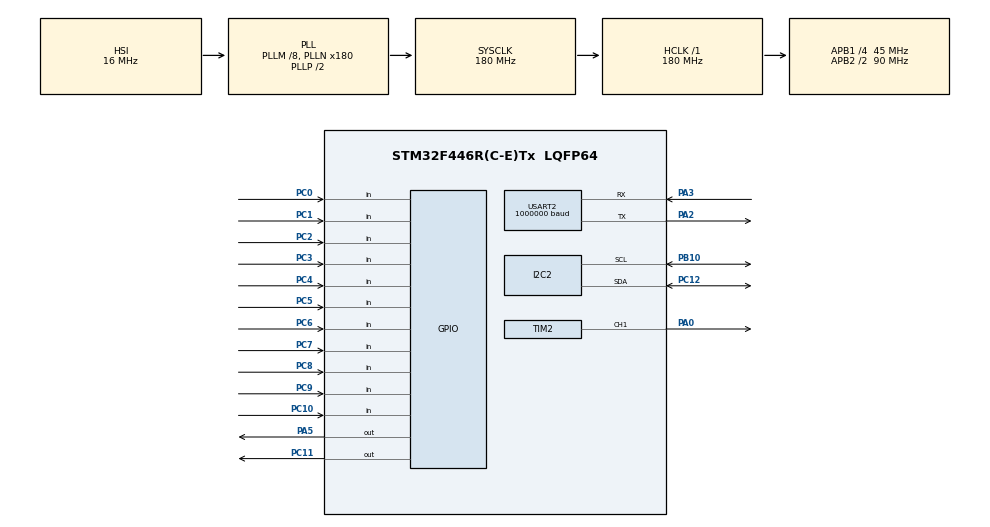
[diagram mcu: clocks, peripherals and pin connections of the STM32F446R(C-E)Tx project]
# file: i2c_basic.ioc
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Dma.Request0=USART2_TX
Dma.USART2_TX.0.Direction=DMA_MEMORY_TO_PERIPH
Dma.USART2_TX.0.FIFOMode=DMA_FIFOMODE_DISABLE
Dma.USART2_TX.0.Instance=DMA1_Stream6
Dma.USART2_TX.0.MemDataAlignment=DMA_MDATAALIGN_BYTE
Dma.USART2_TX.0.MemInc=DMA_MINC_ENABLE
Dma.USART2_TX.0.Mode=DMA_NORMAL
Dma.USART2_TX.0.PeriphDataAlignment=DMA_PDATAALIGN_BYTE
Dma.USART2_TX.0.PeriphInc=DMA_PINC_DISABLE
Dma.USART2_TX.0.Priority=DMA_PRIORITY_LOW
Mcu.Family=STM32F4
Mcu.Name=STM32F446R(C-E)Tx
Mcu.Package=LQFP64
NVIC.DMA1_Stream6_IRQn=true\:0\:0\:false\:false\:true\:false\:true
NVIC.PriorityGroup=NVIC_PRIORITYGROUP_4
NVIC.TIM6_DAC_IRQn=true\:0\:0\:false\:false\:true\:true\:true
PA0-WKUP.Signal=S_TIM2_CH1_ETR
PA2.Mode=Asynchronous
PA2.Signal=USART2_TX
PA3.Mode=Asynchronous
PA3.Signal=USART2_RX
PA5.Signal=GPIO_Output
PB10.Mode=I2C
PB10.Signal=I2C2_SCL
PC0.Signal=GPIO_Input
PC1.Signal=GPIO_Input
PC10.Signal=GPIO_Input
PC11.Signal=GPIO_Output
PC12.Mode=I2C
PC12.Signal=I2C2_SDA
PC2.Signal=GPIO_Input
PC3.Signal=GPIO_Input
PC4.Signal=GPIO_Input
PC5.Signal=GPIO_Input
PC6.Signal=GPIO_Input
PC7.Signal=GPIO_Input
PC8.Signal=GPIO_Input
PC9.Signal=GPIO_Input
ProjectManager.HeapSize=0x200
ProjectManager.StackSize=0x400
ProjectManager.TargetToolchain=SW4STM32
RCC.AHBFreq_Value=180000000
RCC.APB1CLKDivider=RCC_HCLK_DIV4
RCC.APB1Freq_Value=45000000
RCC.APB1TimFreq_Value=90000000
RCC.APB2CLKDivider=RCC_HCLK_DIV2
RCC.APB2Freq_Value=90000000
RCC.APB2TimFreq_Value=180000000
RCC.CortexFreq_Value=180000000
RCC.HCLKFreq_Value=180000000
RCC.PLLM=8
RCC.PLLN=180
RCC.SYSCLKFreq_VALUE=180000000
RCC.SYSCLKSource=RCC_SYSCLKSOURCE_PLLCLK
RCC.USBFreq_Value=180000000
RCC.VCOOutputFreq_Value=360000000
SH.S_TIM2_CH1_ETR.0=TIM2_CH1,PWM Generation1 CH1
TIM2.Channel-PWM\ Generation1\ CH1=TIM_CHANNEL_1
TIM2.OCFastMode_PWM-PWM\ Generation1\ CH1=TIM_OCFAST_ENABLE
TIM2.OCMode_PWM-PWM\ Generation1\ CH1=TIM_OCMODE_PWM2
TIM2.Period=1
TIM2.Prescaler=9
TIM2.Pulse-PWM\ Generation1\ CH1=1
TIM6.Period=10000
TIM6.Prescaler=9000
USART2.BaudRate=1000000
USART2.VirtualMode=VM_ASYNC
VP_TIM2_VS_ClockSourceINT.Mode=Internal
VP_TIM6_VS_ClockSourceINT.Mode=Enable_Timer
board=custom

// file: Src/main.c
/* USER CODE BEGIN Header */
/**
  ******************************************************************************
  * @file           : main.c
  * @brief          : Main program body
  ******************************************************************************
  * @attention
  *
  * <h2><center>&copy; Copyright (c) 2019 STMicroelectronics.
  * All rights reserved.</center></h2>
  *
  * This software component is licensed by ST under BSD 3-Clause license,
  * the "License"; You may not use this file except in compliance with the
  * License. You may obtain a copy of the License at:
  *                        opensource.org/licenses/BSD-3-Clause
  *
  ******************************************************************************
  */
/* USER CODE END Header */

#include "main.h"

/* USER CODE BEGIN Includes */
#include "ssd1306_tests.h"
#include <string.h>
#include "dwt_delay.h"
#include "regs.h"

#define SSD1306_USE_I2C 1
#define PUTCHAR_PROTOTYPE int __io_putchar(int ch)
/* USER CODE END Includes */

I2C_HandleTypeDef hi2c2;

TIM_HandleTypeDef htim2;
TIM_HandleTypeDef htim6;

UART_HandleTypeDef huart2;
DMA_HandleTypeDef hdma_usart2_tx;

/* USER CODE BEGIN PV */
#define ROWS 240
#define PIXS 320

volatile uint16_t vsCnt, pxCnt;
volatile uint16_t line;

uint8_t tab[ROWS][PIXS];

/* USER CODE END PV */

void SystemClock_Config(void);
static void MX_GPIO_Init(void);
static void MX_DMA_Init(void);
static void MX_I2C2_Init(void);
static void MX_USART2_UART_Init(void);
static void MX_TIM2_Init(void);
static void MX_TIM6_Init(void);

/* USER CODE BEGIN 0 */

uint8_t data;

void init() {
	for(int i = 0; i < 198 ; i ++){
		HAL_I2C_Mem_Write(&hi2c2, (0x21<<1), OV7670_reg[i][0], 1, &OV7670_reg[i][1], 1, 100);
		HAL_Delay(1);
		HAL_I2C_Mem_Read(&hi2c2, (0x21<<1), OV7670_reg[i][0], 1, &data, 1, 100);
	}

//	HAL_I2C_Mem_Read(&hi2c2, (0x21<<1), 0x11, 1, &data, 1, 100);
//	HAL_Delay(10);
//	HAL_I2C_Mem_Write(&hi2c2, (0x21<<1), OV7670_reg[0][0], 1, &OV7670_reg[0][1], 1, 100);
//	HAL_Delay(10);
//	HAL_I2C_Mem_Write(&hi2c2, (0x21<<1), OV7670_reg[1][0], 1, &OV7670_reg[1][1], 1, 100);
//	HAL_Delay(10);
//	HAL_I2C_Mem_Write(&hi2c2, (0x21<<1), OV7670_reg[2][0], 1, &OV7670_reg[2][1], 1, 100);
//	HAL_Delay(10);
//
//	HAL_I2C_Mem_Read(&hi2c2, (0x21<<1), 0x13, 1, &data, 1, 100);
//	HAL_Delay(10);
//	HAL_I2C_Mem_Read(&hi2c2, (0x21<<1), 0x17, 1, &data, 1, 100);
//	HAL_Delay(10);
}

/* USER CODE END 0 */

int main(void)
{

  /* MCU Configuration--------------------------------------------------------*/

  /* Reset of all peripherals, Initializes the Flash interface and the Systick. */
  HAL_Init();

  /* Configure the system clock */
  SystemClock_Config();

  /* Initialize all configured peripherals */
  MX_GPIO_Init();
  MX_DMA_Init();
  MX_I2C2_Init();
  MX_USART2_UART_Init();
  MX_TIM2_Init();
  MX_TIM6_Init();
  /* USER CODE BEGIN 2 */

//  HAL_TIM_Base_Start_IT(&htim6);
  HAL_TIM_Base_Start(&htim2);
  HAL_TIM_PWM_Start(&htim2,TIM_CHANNEL_1);

HAL_Delay(500);
  init();

  /* USER CODE END 2 */

  /* Infinite loop */
  /* USER CODE BEGIN WHILE */

//  printf("CR b4 while: %02X\r\n", (uint32_t *)DCMI->CR);
//
//  DCMI->CR |= (uint32_t)DCMI_CR_CAPTURE;
//  DCMI->CR |= (uint32_t)DCMI_CR_ENABLE;
//  __HAL_DCMI_DISABLE_IT(&hdcmi, DCMI_IT_LINE | DCMI_IT_OVR | DCMI_IT_ERR | DCMI_IT_FRAME | DCMI_IT_OVF);

//  printf("CR b4 while: %02X\r\n", (uint32_t *)DCMI->CR);
//  printf("SR b4 while: %02X\r\n", (uint32_t *)DCMI->SR);
//  printf("IER b4 while: %02X\r\n", (uint32_t *)DCMI->IER);
//  printf("MISR b4 while: %02X\r\n", (uint32_t *)DCMI->MISR);
//  printf("RISR b4 while: %02X\r\n", (uint32_t *)DCMI->RISR);

  uint32_t data;

  while (1)
  {
    /* USER CODE END WHILE */

    /* USER CODE BEGIN 3 */
	  // send info from python which lines are broken, resend, hold until all ok
	  while(HAL_GPIO_ReadPin(GPIOC, GPIO_PIN_10) == GPIO_PIN_SET );
	  while(HAL_GPIO_ReadPin(GPIOC, GPIO_PIN_10) == GPIO_PIN_RESET );

	  while(HAL_GPIO_ReadPin(GPIOC, GPIO_PIN_10) == GPIO_PIN_SET ){

		 while( (HAL_GPIO_ReadPin(GPIOC, GPIO_PIN_9) == GPIO_PIN_SET ) ){
			 while( (GPIOC->IDR & GPIO_PIN_8) == 0 );
			 tab[line][pxCnt++] = (GPIOC->IDR & 0xff);
//			 HAL_GPIO_TogglePin(GPIOC, GPIO_PIN_11);
//			 HAL_GPIO_TogglePin(GPIOC, GPIO_PIN_11);

			 while( (GPIOC->IDR & GPIO_PIN_8) == GPIO_PIN_8 );
			 while( (GPIOC->IDR & GPIO_PIN_8) == 0 );
			 while( (GPIOC->IDR & GPIO_PIN_8) == GPIO_PIN_8 );
		 }

		 pxCnt = 0;

		 if(line == 0){
			 HAL_GPIO_TogglePin(GPIOC, GPIO_PIN_11);
			 HAL_GPIO_TogglePin(GPIOC, GPIO_PIN_11);
		 }

		 if(++line > ROWS){
			 break;
		 }
		 //line low
		 while( HAL_GPIO_ReadPin(GPIOC, GPIO_PIN_9) == GPIO_PIN_RESET && (line < ROWS));

	  }//end of VS

//		 HAL_GPIO_TogglePin(GPIOC, GPIO_PIN_11);

//			for(uint8_t i = 0; i < ROWS; i++){
//				printf("[%d,", i);
//				for(uint16_t j = 0; j < PIXS; j += 4){
//					uint32_t n = (tab[i][j] << 24) | (tab[i][j+1] << 16) | (tab[i][j+2] << 8) | tab[i][j+3];
//					printf("%08x,", n);
////					uint8_t n =  tab[i][j];
////					HAL_UART_Transmit(&huart2, (uint8_t) n, 1, 1);
////					HAL_UART_Transmit(&huart2, (uint8_t)  0x2b, 1, 1);
//				}
//				printf("%d\r\n", i);
//			}
//		HAL_GPIO_TogglePin(GPIOC, GPIO_PIN_11);
	  HAL_DMA_Start(&hdma_usart2_tx, (uint32_t)&data, (uint32_t)&(huart2.Instance->DR), 8);

		line = 0;

	 }// MAIN while
  /* USER CODE END 3 */
}

void SystemClock_Config(void)
{
  RCC_OscInitTypeDef RCC_OscInitStruct = {0};
  RCC_ClkInitTypeDef RCC_ClkInitStruct = {0};

  /** Configure the main internal regulator output voltage
  */
  __HAL_RCC_PWR_CLK_ENABLE();
  __HAL_PWR_VOLTAGESCALING_CONFIG(PWR_REGULATOR_VOLTAGE_SCALE1);
  /** Initializes the CPU, AHB and APB busses clocks
  */
  RCC_OscInitStruct.OscillatorType = RCC_OSCILLATORTYPE_HSI;
  RCC_OscInitStruct.HSIState = RCC_HSI_ON;
  RCC_OscInitStruct.HSICalibrationValue = RCC_HSICALIBRATION_DEFAULT;
  RCC_OscInitStruct.PLL.PLLState = RCC_PLL_ON;
  RCC_OscInitStruct.PLL.PLLSource = RCC_PLLSOURCE_HSI;
  RCC_OscInitStruct.PLL.PLLM = 8;
  RCC_OscInitStruct.PLL.PLLN = 180;
  RCC_OscInitStruct.PLL.PLLP = RCC_PLLP_DIV2;
  RCC_OscInitStruct.PLL.PLLQ = 2;
  RCC_OscInitStruct.PLL.PLLR = 2;
  if (HAL_RCC_OscConfig(&RCC_OscInitStruct) != HAL_OK)
  {
    Error_Handler();
  }
  /** Activate the Over-Drive mode
  */
  if (HAL_PWREx_EnableOverDrive() != HAL_OK)
  {
    Error_Handler();
  }
  /** Initializes the CPU, AHB and APB busses clocks
  */
  RCC_ClkInitStruct.ClockType = RCC_CLOCKTYPE_HCLK|RCC_CLOCKTYPE_SYSCLK
                              |RCC_CLOCKTYPE_PCLK1|RCC_CLOCKTYPE_PCLK2;
  RCC_ClkInitStruct.SYSCLKSource = RCC_SYSCLKSOURCE_PLLCLK;
  RCC_ClkInitStruct.AHBCLKDivider = RCC_SYSCLK_DIV1;
  RCC_ClkInitStruct.APB1CLKDivider = RCC_HCLK_DIV4;
  RCC_ClkInitStruct.APB2CLKDivider = RCC_HCLK_DIV2;

  if (HAL_RCC_ClockConfig(&RCC_ClkInitStruct, FLASH_LATENCY_5) != HAL_OK)
  {
    Error_Handler();
  }
}

static void MX_I2C2_Init(void)
{

  hi2c2.Instance = I2C2;
  hi2c2.Init.ClockSpeed = 100000;
  hi2c2.Init.DutyCycle = I2C_DUTYCYCLE_2;
  hi2c2.Init.OwnAddress1 = 0;
  hi2c2.Init.AddressingMode = I2C_ADDRESSINGMODE_7BIT;
  hi2c2.Init.DualAddressMode = I2C_DUALADDRESS_DISABLE;
  hi2c2.Init.OwnAddress2 = 0;
  hi2c2.Init.GeneralCallMode = I2C_GENERALCALL_DISABLE;
  hi2c2.Init.NoStretchMode = I2C_NOSTRETCH_DISABLE;
  if (HAL_I2C_Init(&hi2c2) != HAL_OK)
  {
    Error_Handler();
  }

}

static void MX_TIM2_Init(void)
{

  TIM_ClockConfigTypeDef sClockSourceConfig = {0};
  TIM_MasterConfigTypeDef sMasterConfig = {0};
  TIM_OC_InitTypeDef sConfigOC = {0};

  htim2.Instance = TIM2;
  htim2.Init.Prescaler = 9;
  htim2.Init.CounterMode = TIM_COUNTERMODE_UP;
  htim2.Init.Period = 1;
  htim2.Init.ClockDivision = TIM_CLOCKDIVISION_DIV1;
  htim2.Init.AutoReloadPreload = TIM_AUTORELOAD_PRELOAD_DISABLE;
  if (HAL_TIM_Base_Init(&htim2) != HAL_OK)
  {
    Error_Handler();
  }
  sClockSourceConfig.ClockSource = TIM_CLOCKSOURCE_INTERNAL;
  if (HAL_TIM_ConfigClockSource(&htim2, &sClockSourceConfig) != HAL_OK)
  {
    Error_Handler();
  }
  if (HAL_TIM_PWM_Init(&htim2) != HAL_OK)
  {
    Error_Handler();
  }
  sMasterConfig.MasterOutputTrigger = TIM_TRGO_RESET;
  sMasterConfig.MasterSlaveMode = TIM_MASTERSLAVEMODE_DISABLE;
  if (HAL_TIMEx_MasterConfigSynchronization(&htim2, &sMasterConfig) != HAL_OK)
  {
    Error_Handler();
  }
  sConfigOC.OCMode = TIM_OCMODE_PWM2;
  sConfigOC.Pulse = 1;
  sConfigOC.OCPolarity = TIM_OCPOLARITY_HIGH;
  sConfigOC.OCFastMode = TIM_OCFAST_ENABLE;
  if (HAL_TIM_PWM_ConfigChannel(&htim2, &sConfigOC, TIM_CHANNEL_1) != HAL_OK)
  {
    Error_Handler();
  }
  HAL_TIM_MspPostInit(&htim2);

}

static void MX_TIM6_Init(void)
{

  TIM_MasterConfigTypeDef sMasterConfig = {0};

  htim6.Instance = TIM6;
  htim6.Init.Prescaler = 9000;
  htim6.Init.CounterMode = TIM_COUNTERMODE_UP;
  htim6.Init.Period = 10000;
  htim6.Init.AutoReloadPreload = TIM_AUTORELOAD_PRELOAD_DISABLE;
  if (HAL_TIM_Base_Init(&htim6) != HAL_OK)
  {
    Error_Handler();
  }
  sMasterConfig.MasterOutputTrigger = TIM_TRGO_RESET;
  sMasterConfig.MasterSlaveMode = TIM_MASTERSLAVEMODE_DISABLE;
  if (HAL_TIMEx_MasterConfigSynchronization(&htim6, &sMasterConfig) != HAL_OK)
  {
    Error_Handler();
  }
  /* USER CODE BEGIN TIM6_Init 2 */
  printf("tim setup done 6\r\n");

  /* USER CODE END TIM6_Init 2 */

}

static void MX_USART2_UART_Init(void)
{

  huart2.Instance = USART2;
  huart2.Init.BaudRate = 1000000;
  huart2.Init.WordLength = UART_WORDLENGTH_8B;
  huart2.Init.StopBits = UART_STOPBITS_1;
  huart2.Init.Parity = UART_PARITY_NONE;
  huart2.Init.Mode = UART_MODE_TX_RX;
  huart2.Init.HwFlowCtl = UART_HWCONTROL_NONE;
  huart2.Init.OverSampling = UART_OVERSAMPLING_16;
  if (HAL_UART_Init(&huart2) != HAL_OK)
  {
    Error_Handler();
  }

}

static void MX_DMA_Init(void)
{
  /* DMA controller clock enable */
  __HAL_RCC_DMA1_CLK_ENABLE();

  /* DMA interrupt init */
  /* DMA1_Stream6_IRQn interrupt configuration */
  HAL_NVIC_SetPriority(DMA1_Stream6_IRQn, 0, 0);
  HAL_NVIC_EnableIRQ(DMA1_Stream6_IRQn);

}

static void MX_GPIO_Init(void)
{
  GPIO_InitTypeDef GPIO_InitStruct = {0};

  /* GPIO Ports Clock Enable */
  __HAL_RCC_GPIOC_CLK_ENABLE();
  __HAL_RCC_GPIOA_CLK_ENABLE();
  __HAL_RCC_GPIOB_CLK_ENABLE();

  /*Configure GPIO pin Output Level */
  HAL_GPIO_WritePin(GPIOA, GPIO_PIN_5, GPIO_PIN_RESET);

  /*Configure GPIO pin Output Level */
  HAL_GPIO_WritePin(GPIOC, GPIO_PIN_11, GPIO_PIN_RESET);

  /*Configure GPIO pins : PC0 PC1 PC2 PC3
                           PC4 PC5 PC6 PC7
                           PC8 PC9 PC10 */
  GPIO_InitStruct.Pin = GPIO_PIN_0|GPIO_PIN_1|GPIO_PIN_2|GPIO_PIN_3
                          |GPIO_PIN_4|GPIO_PIN_5|GPIO_PIN_6|GPIO_PIN_7
                          |GPIO_PIN_8|GPIO_PIN_9|GPIO_PIN_10;
  GPIO_InitStruct.Mode = GPIO_MODE_INPUT;
  GPIO_InitStruct.Pull = GPIO_NOPULL;
  HAL_GPIO_Init(GPIOC, &GPIO_InitStruct);

  /*Configure GPIO pin : PA5 */
  GPIO_InitStruct.Pin = GPIO_PIN_5;
  GPIO_InitStruct.Mode = GPIO_MODE_OUTPUT_PP;
  GPIO_InitStruct.Pull = GPIO_NOPULL;
  GPIO_InitStruct.Speed = GPIO_SPEED_FREQ_LOW;
  HAL_GPIO_Init(GPIOA, &GPIO_InitStruct);

  /*Configure GPIO pin : PC11 */
  GPIO_InitStruct.Pin = GPIO_PIN_11;
  GPIO_InitStruct.Mode = GPIO_MODE_OUTPUT_PP;
  GPIO_InitStruct.Pull = GPIO_NOPULL;
  GPIO_InitStruct.Speed = GPIO_SPEED_FREQ_LOW;
  HAL_GPIO_Init(GPIOC, &GPIO_InitStruct);

}

/* USER CODE BEGIN 4 */

static inline void DWT_Delay(uint32_t us) // microseconds
{
    uint32_t startTick = DWT->CYCCNT,
             delayTicks = us * (SystemCoreClock/1000000);

    while (DWT->CYCCNT - startTick < delayTicks);
}

PUTCHAR_PROTOTYPE
{
 /* Place your implementation of fputc here */
 /* e.g. write a character to the USART2 and Loop until the end of transmission */
 HAL_UART_Transmit(&huart2, (uint8_t *)&ch, 1, 1);

return ch;
}

/* USER CODE END 4 */

void Error_Handler(void)
{
  /* USER CODE BEGIN Error_Handler_Debug */
  /* User can add his own implementation to report the HAL error return state */
	printf("ERROR!");

  /* USER CODE END Error_Handler_Debug */
}

/************************ (C) COPYRIGHT STMicroelectronics *****END OF FILE****/
